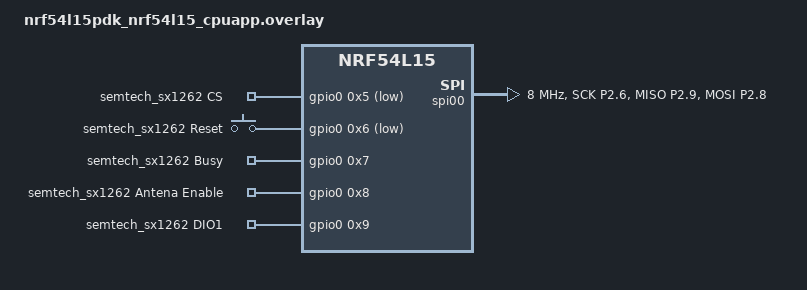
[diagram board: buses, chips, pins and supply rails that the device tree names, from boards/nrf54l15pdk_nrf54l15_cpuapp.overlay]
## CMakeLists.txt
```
#
# Copyright (c) 2022 Nordic Semiconductor ASA
#
# SPDX-License-Identifier: LicenseRef-Nordic-5-Clause
#

cmake_minimum_required(VERSION 3.20.0)

find_package(Zephyr REQUIRED HINTS $ENV{ZEPHYR_BASE})
project(sidewalk_functional_test)

# add test file
FILE(GLOB app_sources src/*.c $ENV{ZEPHYR_BASE}/../sidewalk/subsys/config/common/src/app_subGHz_config.c)
target_sources(app PRIVATE ${app_sources})
target_include_directories(app PRIVATE .)
```

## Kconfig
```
#
# Copyright (c) 2022 Nordic Semiconductor ASA
#
# SPDX-License-Identifier: LicenseRef-Nordic-5-Clause
#
config SIDEWALK_BUILD
	default y

config SIDEWALK_SUBGHZ_SUPPORT
	default y

config SIDEWALK_SUBGHZ_TRIM_CAP_VAL
	hex "value for trim cap used by subGHz radio"
	range 0x0 0xFFFF
	default 0x1212
	help
	  The value of the trim cap. Default value works for Semtech SX1262 shield 

config SIDEWALK_SPI_BUS
	default y
	imply SPI
	imply PM
	imply PM_DEVICE

config SIDEWALK_GPIO
	default y
	imply GPIO 

config SIDEWALK_GPIO_IRQ_PRIORITY
	default 1

config SIDEWALK_GPIO_IRQ_STACK_SIZE
	default 2048

config SIDEWALK_LOG_LEVEL
	default 0

config SPI_BUS_LOG_LEVEL
	default 0

config SIDEWALK_GPIO_MAX
    default 6

source "Kconfig.zephyr"
```

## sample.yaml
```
sample:
  name: Sidewalk spi_bus test
  description: Test arduino spi bus interface
tests:
  sample.test.spi_bus:
    platform_allow: nrf52840dk_nrf52840 nrf5340dk_nrf5340_cpuapp
    integration_platforms:
      - nrf52840dk_nrf52840
      - nrf5340dk_nrf5340_cpuapp
    tags: Sidewalk
```

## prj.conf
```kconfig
#
# Copyright (c) 2022 Nordic Semiconductor ASA
#
# SPDX-License-Identifier: LicenseRef-Nordic-5-Clause
#

# Sidewalk
CONFIG_UNITY=y
CONFIG_ZTEST=y
CONFIG_MAIN_THREAD_PRIORITY=14
```

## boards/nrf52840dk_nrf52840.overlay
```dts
/*
 * Copyright (c) 2023 Nordic Semiconductor ASA
 *
 * SPDX-License-Identifier: LicenseRef-Nordic-5-Clause
 */

&spi3 {
	status = "disabled";
};

sid_semtech: &spi2 {
	compatible = "nordic,nrf-spim";
	status = "okay";
	pinctrl-0 = <&spi2_default>;
	pinctrl-1 = <&spi2_sleep>;
	pinctrl-names = "default", "sleep";
	clock-frequency = <DT_FREQ_M(8)>;
};

&spi2_default {
	group1 {
		psels = <NRF_PSEL(SPIM_SCK, 1, 15)>,
			<NRF_PSEL(SPIM_MISO, 1, 14)>,
			<NRF_PSEL(SPIM_MOSI, 1, 13)>;
	};
};

&spi2_sleep {
	group1 {
		psels = <NRF_PSEL(SPIM_SCK, 1, 15)>,
			<NRF_PSEL(SPIM_MISO, 1, 14)>,
			<NRF_PSEL(SPIM_MOSI, 1, 13)>;
		low-power-enable;
	};
};
```

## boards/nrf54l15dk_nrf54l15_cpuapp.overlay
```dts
/*
 * Copyright (c) 2024 Nordic Semiconductor ASA
 *
 * SPDX-License-Identifier: LicenseRef-Nordic-5-Clause
 */

 /{
	aliases {
		state-notifier-connected = &led0;
		state-notifier-time-sync = &led1;
		state-notifier-registered = &led2;
		state-notifier-working = &led3;
	};

	semtech_sx1262_gpios{
		compatible = "gpio-keys";
		semtech_sx1262_reset_gpios: reset {
			gpios = <&gpio2 8  (GPIO_ACTIVE_LOW|GPIO_PULL_UP)>;
			label = "semtech_sx1262 Reset";
		};
		semtech_sx1262_busy_gpios: busy {
			gpios = <&gpio2 6 (GPIO_ACTIVE_HIGH)>;
			label = "semtech_sx1262 Busy";
		};
		semtech_sx1262_antenna_enable_gpios: antena_enable {
			gpios = <&gpio2 10 (GPIO_ACTIVE_HIGH)>;
			label = "semtech_sx1262 Antena Enable";
		};
		semtech_sx1262_dio1_gpios: dio1 {
			gpios = <&gpio1 11  (GPIO_ACTIVE_HIGH|GPIO_PULL_DOWN)>;
			label = "semtech_sx1262 DIO1";
		};
	};

	// Use watchdog wdt31 as the application watchdog
	watchdog0 = &wdt31;
};

sid_semtech: &spi30 {
	compatible = "nordic,nrf-spim";
	status = "okay";
	cs-gpios = <&gpio0 0 GPIO_ACTIVE_LOW>;
	pinctrl-0 = <&spi30_default_alt>;
	pinctrl-1 = <&spi30_sleep_alt>;
	pinctrl-names = "default", "sleep";
	clock-frequency = <DT_FREQ_M(8)>;
};

// restore full RRAM and SRAM space - by default some parts are dedicated to FLRP
&cpuapp_rram {
	reg = <0x0 DT_SIZE_K(1524)>;
};

&cpuapp_sram {
	reg = <0x20000000 DT_SIZE_K(256)>;
	ranges = <0x0 0x20000000  0x40000>;
};

&pinctrl {
	spi30_default_alt: spi30_default_alt {
		group1 {
			psels = <NRF_PSEL(SPIM_SCK, 0, 3)>,
				<NRF_PSEL(SPIM_MISO, 0, 2)>,
				<NRF_PSEL(SPIM_MOSI, 0, 1)>;
		};
	};

	spi30_sleep_alt: spi30_sleep_alt {
		group1 {
			psels = <NRF_PSEL(SPIM_SCK, 0, 3)>,
				<NRF_PSEL(SPIM_MISO, 0, 2)>,
				<NRF_PSEL(SPIM_MOSI, 0, 1)>;
			low-power-enable;
		};
	};
};

&gpio0 {
	status = "okay";
};

&gpio1 {
	status = "okay";
};

&gpio2 {
	status = "okay";
};

&wdt31 {
	status = "okay";
};

&mx25r64 {
	status = "disabled";
};

// TODO: re-enable HWFC once it's fixed
&uart20 {
	/delete-property/ hw-flow-control;
};
```

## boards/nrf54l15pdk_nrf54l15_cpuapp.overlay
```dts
/*
 * Copyright (c) 2024 Nordic Semiconductor ASA
 *
 * SPDX-License-Identifier: LicenseRef-Nordic-5-Clause
 */


 &pinctrl {
	spi00_default: spi00_default {
		group1 {
			psels = <NRF_PSEL(SPIM_SCK, 2, 6)>,
				<NRF_PSEL(SPIM_MISO, 2, 9)>,
				<NRF_PSEL(SPIM_MOSI, 2, 8)>;
		};
	};

	spi00_sleep: spi00_sleep {
		group1 {
			psels = <NRF_PSEL(SPIM_SCK, 2, 6)>,
				<NRF_PSEL(SPIM_MISO, 2, 9)>,
				<NRF_PSEL(SPIM_MOSI, 2, 8)>;
			low-power-enable;
		};
	};
};

 sid_semtech: &spi00 {
	compatible = "nordic,nrf-spim";
	status = "okay";
	pinctrl-0 = <&spi00_default>;
	pinctrl-1 = <&spi00_sleep>;
	pinctrl-names = "default", "sleep";
	clock-frequency = <DT_FREQ_M(8)>;
};

/{
	semtech_sx1262_gpios{
		compatible = "gpio-keys";
	   semtech_sx1262_cs: cs {
		   gpios = <&gpio0 0x5 GPIO_ACTIVE_LOW>;
		   label = "semtech_sx1262 CS";
	   };
		semtech_sx1262_reset_gpios: reset {
		   gpios = <&gpio0 0x6 GPIO_ACTIVE_LOW>;
		   label = "semtech_sx1262 Reset";
	   };
	   semtech_sx1262_busy_gpios: busy {
		   gpios = <&gpio0 0x7 GPIO_ACTIVE_HIGH>;
		   label = "semtech_sx1262 Busy";
	   };
	   semtech_sx1262_antenna_enable_gpios: antena_enable {
		   gpios = <&gpio0 0x8 GPIO_ACTIVE_HIGH>;
		   label = "semtech_sx1262 Antena Enable";
	   };
	   semtech_sx1262_dio1_gpios: dio1 {
		   gpios = <&gpio0 0x9 GPIO_ACTIVE_HIGH>;
		   label = "semtech_sx1262 DIO1";
	   };
	};
};
```

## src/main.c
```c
/*
 * Copyright (c) 2023 Nordic Semiconductor ASA
 *
 * SPDX-License-Identifier: LicenseRef-Nordic-5-Clause
 */

#include <zephyr/ztest.h>

#include <zephyr/kernel.h>
#include <stdint.h>
#include <string.h>

#include <stdlib.h>

#include <sid_gpio_utils.h>
#include <sid_pal_gpio_ifc.h>
#include <sid_pal_serial_bus_ifc.h>
#include <sid_pal_serial_bus_spi_config.h>

ZTEST(spi_bus, test_init_spi)
{
	const struct sid_pal_serial_bus_iface *interface;

	zassert_equal(SID_ERROR_NONE, sid_pal_serial_bus_nordic_spi_create(&interface, NULL));
}

ZTEST(spi_bus, test_invalid_init_spi)
{
	zassert_equal(SID_ERROR_INVALID_ARGS, sid_pal_serial_bus_nordic_spi_create(NULL, NULL));
}

ZTEST(spi_bus, test_xfer_no_buffer)
{
	const struct sid_pal_serial_bus_iface *interface = NULL;

	zassert_equal(SID_ERROR_NONE, sid_pal_serial_bus_nordic_spi_create(&interface, NULL));
	zassert_not_null(interface);
	zassert_not_null(interface->xfer);
	sid_error_t e = interface->xfer(interface, NULL, NULL, NULL, 1);

	zassert_equal(SID_ERROR_INVALID_ARGS, e);
}

ZTEST(spi_bus, test_xfer_no_interface)
{
	const struct sid_pal_serial_bus_iface *interface = NULL;

	zassert_equal(SID_ERROR_NONE, sid_pal_serial_bus_nordic_spi_create(&interface, NULL));
	zassert_not_null(interface);
	zassert_not_null(interface->xfer);
	uint8_t tx[] = { 0x1d, 0x08, 0xac, 0, 0 };
	uint8_t rx[5] = { 0 };
	sid_error_t e = interface->xfer(NULL, NULL, tx, rx, sizeof(rx));

	zassert_equal(SID_ERROR_INVALID_ARGS, e);
	uint8_t rx_expect[5] = { 0 };

	zassert_mem_equal(rx_expect, rx, sizeof(rx));
}

ZTEST(spi_bus, test_xfer_wrong_interface)
{
	const struct sid_pal_serial_bus_iface *interface = NULL;
	const struct sid_pal_serial_bus_iface interface2;

	zassert_equal(SID_ERROR_NONE, sid_pal_serial_bus_nordic_spi_create(&interface, NULL));
	zassert_not_null(interface);
	zassert_not_null(interface->xfer);
	uint8_t tx[] = { 0x1d, 0x08, 0xac, 0, 0 };
	uint8_t rx[5] = { 0 };
	sid_error_t e = interface->xfer(&interface2, NULL, tx, rx, sizeof(rx));

	zassert_equal(SID_ERROR_INVALID_ARGS, e);
	uint8_t rx_expect[5] = { 0 };

	zassert_mem_equal(rx_expect, rx, sizeof(rx));
}

ZTEST(spi_bus, test_send_spi)
{
	const struct sid_pal_serial_bus_iface *interface = NULL;
	struct sid_pal_serial_bus_client client;
	client.client_selector =
		sid_gpio_utils_register_gpio((struct gpio_dt_spec)GPIO_DT_SPEC_GET_OR(
			DT_NODELABEL(sid_semtech), cs_gpios, INVALID_DT_GPIO));
	sid_pal_gpio_set_direction(client.client_selector, SID_PAL_GPIO_DIRECTION_OUTPUT);

	zassert_equal(SID_ERROR_NONE, sid_pal_serial_bus_nordic_spi_create(&interface, NULL));
	zassert_not_null(interface);
	zassert_not_null(interface->xfer);
	uint8_t tx[] = { 0x1d, 0x08, 0xac, 0, 0 };
	uint8_t rx[5] = { 0 };
	uint8_t invalid_rx[5] = { 0 };
	sid_error_t e = interface->xfer(interface, &client, tx, rx, sizeof(rx));

	zassert_equal(SID_ERROR_NONE, e);
	for (int i = 0; i < ARRAY_SIZE(rx); i++) {
		printf("%x ", rx[i]);
	}
	zassert_true(memcmp(rx, invalid_rx, ARRAY_SIZE(rx)) != 0);
}

ZTEST(spi_bus, test_only_tx_spi)
{
	const struct sid_pal_serial_bus_iface *interface = NULL;
	struct sid_pal_serial_bus_client client;
	client.client_selector =
		sid_gpio_utils_register_gpio((struct gpio_dt_spec)GPIO_DT_SPEC_GET_OR(
			DT_NODELABEL(sid_semtech), cs_gpios, INVALID_DT_GPIO));
	sid_pal_gpio_set_direction(client.client_selector, SID_PAL_GPIO_DIRECTION_OUTPUT);

	zassert_equal(SID_ERROR_NONE, sid_pal_serial_bus_nordic_spi_create(&interface, NULL));
	zassert_not_null(interface);
	zassert_not_null(interface->xfer);
	uint8_t tx[] = { 0x1d, 0x08, 0xac };
	sid_error_t e = interface->xfer(interface, &client, tx, NULL, sizeof(tx));

	zassert_equal(SID_ERROR_NONE, e);
}

ZTEST(spi_bus, test_sanity)
{
	zassert_equal(true, true);
}

ZTEST_SUITE(spi_bus, NULL, NULL, NULL, NULL, NULL);
```
